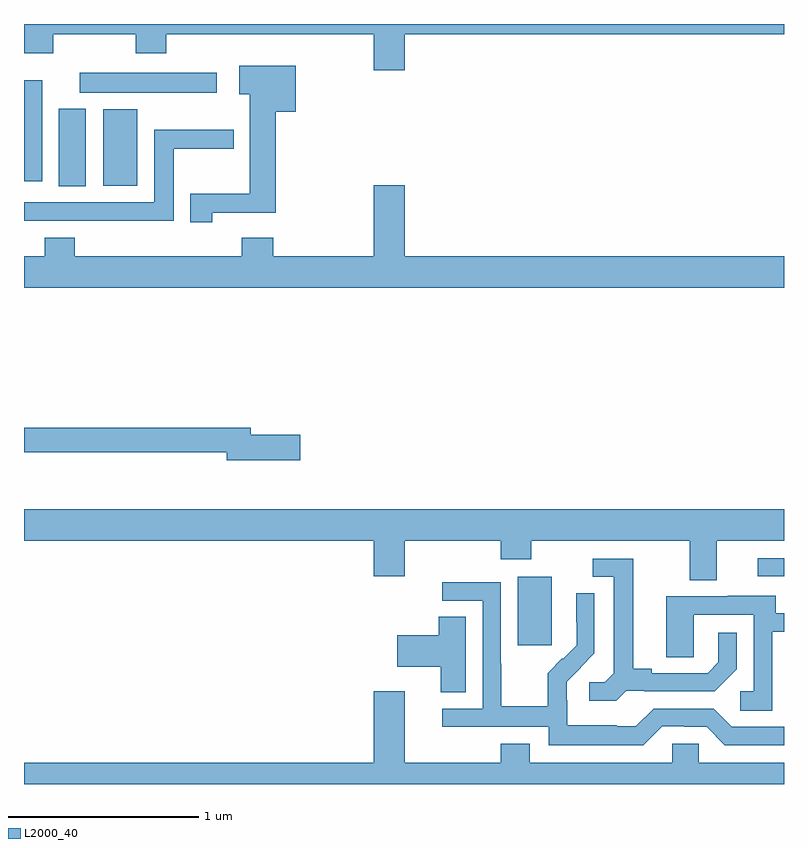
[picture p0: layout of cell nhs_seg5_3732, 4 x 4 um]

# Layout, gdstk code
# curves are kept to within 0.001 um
import gdstk
lib = gdstk.Library(unit=1e-6, precision=1e-09)
def R(c, l, rs):  # rectangles x0, y0, x1, y1
    for r in rs: c.add(gdstk.rectangle(r[:2], r[2:], *l))
def P(c, l, *ps):  # polygons
    for p in ps: c.add(gdstk.Polygon(p, *l))
L2000_40 = (2000, 40)

nhs_seg5_3732 = lib.new_cell('nhs_seg5_3732')
R(nhs_seg5_3732, L2000_40, [(333.599,869.529,333.778,869.89), (334.863,869.892,335,869.988), (331.184,871.945,331.324,872.353), (331.418,871.949,331.597,872.35), (331,871.971,331.096,872.503), (331.293,872.438,332.014,872.542)])
P(nhs_seg5_3732, L2000_40, [(333.004,872.744),(335,872.744),(335,872.799),(331,872.799),(331,872.645),(331.155,872.645),(331.155,872.744),(331.588,872.744),(331.588,872.645),(331.748,872.645),(331.748,872.744),(332.84,872.744),(332.84,872.556),(333.004,872.556)],
  [(331.992,871.805),(332.324,871.805),(332.324,872.336),(332.431,872.336),(332.431,872.578),(332.133,872.578),(332.133,872.429),(332.189,872.429),(332.189,871.905),(331.874,871.905),(331.874,871.755),(331.992,871.755)],
  [(331.789,872.143),(332.104,872.143),(332.104,872.243),(331.685,872.243),(331.685,871.86),(331,871.86),(331,871.764),(331.351,871.764),(331.351,871.763),(331.789,871.763)],
  [(335,871.576),(333.004,871.576),(333.004,871.951),(332.84,871.951),(332.84,871.576),(332.312,871.576),(332.312,871.675),(332.147,871.675),(332.147,871.576),(331.268,871.576),(331.268,871.675),(331.108,871.675),(331.108,871.576),(331,871.576),(331,871.412),(335,871.412)],
  [(332.455,870.638),(332.194,870.638),(332.194,870.674),(331,870.674),(331,870.546),(332.066,870.546),(332.066,870.503),(332.455,870.503)],
  [(334.645,870.08),(335,870.08),(335,870.244),(331,870.244),(331,870.08),(332.84,870.08),(332.84,869.892),(333.004,869.892),(333.004,870.08),(333.509,870.08),(333.509,869.981),(333.669,869.981),(333.669,870.08),(334.505,870.08),(334.505,869.872),(334.645,869.872)],
  [(334.17,869.289),(334.264,869.289),(334.264,869.286),(334.636,869.286),(334.752,869.402),(334.752,869.596),(334.655,869.596),(334.655,869.439),(334.598,869.382),(334.303,869.382),(334.303,869.405),(334.207,869.405),(334.207,869.985),(333.993,869.985),(333.993,869.889),(334.103,869.889),(334.103,869.381),(334.056,869.334),(333.975,869.334),(333.975,869.237),(334.118,869.237)],
  [(334.359,869.103),(334.475,869.103),(334.475,869.1),(334.593,869.1),(334.689,869.004),(335,869.004),(335,869.1),(334.725,869.1),(334.629,869.196),(334.314,869.196),(334.221,869.103),(334.121,869.103),(334.121,869.107),(333.858,869.107),(333.858,869.241),(333.856,869.241),(333.856,869.338),(334.002,869.486),(334.002,869.804),(333.906,869.804),(333.906,869.65),(333.908,869.65),(333.908,869.528),(333.837,869.457),(333.834,869.46),(333.757,869.383),(333.757,869.209),(333.513,869.209),(333.513,869.432),(333.51,869.432),(333.51,869.862),(333.201,869.862),(333.201,869.763),(333.414,869.763),(333.414,869.196),(333.201,869.196),(333.201,869.1),(333.762,869.1),(333.762,869.003),(334.259,869.003)],
  [(334.938,869.601),(335,869.601),(335,869.697),(334.957,869.697),(334.957,869.791),(334.703,869.791),(334.703,869.787),(334.379,869.787),(334.379,869.467),(334.524,869.467),(334.524,869.691),(334.842,869.691),(334.842,869.286),(334.77,869.286),(334.77,869.185),(334.938,869.185)],
  [(333.325,869.678),(333.182,869.678),(333.182,869.583),(332.964,869.583),(332.964,869.417),(333.194,869.417),(333.194,869.281),(333.325,869.281)],
  [(335,868.912),(334.551,868.912),(334.551,869.01),(334.413,869.01),(334.413,868.912),(333.661,868.912),(333.661,869.011),(333.509,869.011),(333.509,868.912),(333.004,868.912),(333.004,869.287),(332.84,869.287),(332.84,868.912),(331,868.912),(331,868.799),(335,868.799)])

lib.write_gds('nhs_seg5_3732.gds')
